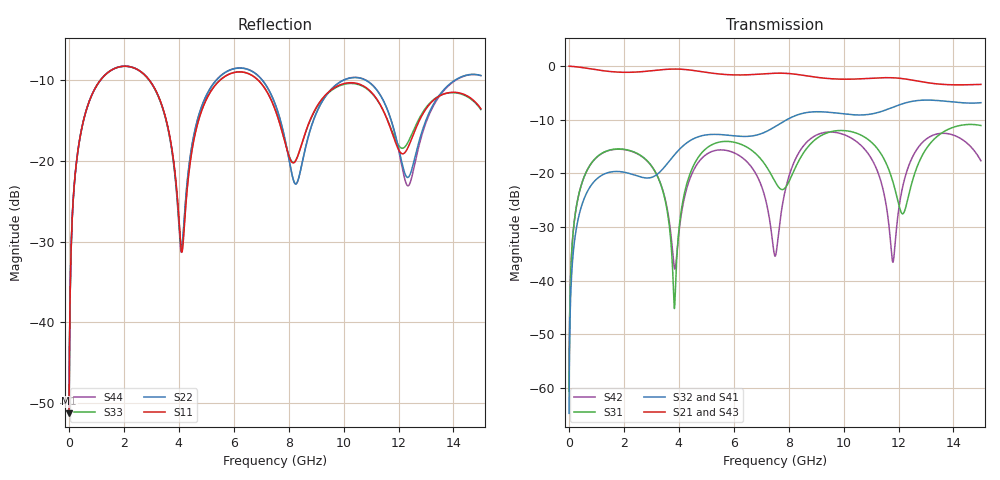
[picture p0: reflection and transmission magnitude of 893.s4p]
! Created with skrf 1.8.0 (http://scikit-rf.org).
# GHz S RI R 50.0
!freq ReS11 ImS11 ReS12 ImS12 ReS13 ImS13
! ReS14 ImS14
! ReS21 ImS21 ReS22 ImS22 ReS23 ImS23
! ReS24 ImS24
! ReS31 ImS31 ReS32 ImS32 ReS33 ImS33
! ReS34 ImS34
! ReS41 ImS41 ReS42 ImS42 ReS43 ImS43
! ReS44 ImS44
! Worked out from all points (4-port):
!   2499 points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, 5 MHz to 15 GHz, reference 50 ohm
!   strongest paths, dB at 5 MHz, 3.476 GHz, 7.19 GHz, 11.1 GHz, 15 GHz:
!     S21: 0.0, -0.6, -1.4, -2.2, -3.4
!     S43: 0.0, -0.6, -1.4, -2.2, -3.4
!     S32: -64.7, -18.8, -12.2, -8.8, -6.8
!     S41: -64.7, -18.8, -12.2, -8.9, -6.8
!     S31: -60.6, -24.4, -18.7, -14.6, -11.1
!     S42: -60.6, -24.2, -25.5, -18.0, -17.6
!   lowest |S11| = -51.3 dB at 5 MHz (marker M1), VSWR 1.01, Z = 50.2 + j0.165 ohm
!   |S11| at or under -10 dB: start of sweep to 1.138 GHz; 2.934 GHz to 5.493 GHz (2.559 GHz wide, 60.7 % of centre); 6.897 GHz to end of sweep
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0.005  0.00218 0.00164  0.9978 -0.00423  0.000114 0.000928  -0.00011 -0.000572
       0.9978 -0.00423  0.00218 0.00164  -0.00011 -0.000572  0.000114 0.000928
       0.000114 0.000928  -0.00011 -0.000572  0.00218 0.00164  0.9978 -0.00423
       -0.00011 -0.000572  0.000114 0.000928  0.9978 -0.00423  0.00218 0.00164
1.269279  0.294 0.1624  0.4903 -0.7585  0.147 0.0567  -0.0982 0.00441
          0.4903 -0.7585  0.2946 0.1619  -0.0983 0.0045  0.1454 0.0592
          0.147 0.0567  -0.0983 0.0045  0.2938 0.1624  0.4904 -0.7585
          -0.0982 0.00441  0.1454 0.0592  0.4904 -0.7585  0.2945 0.1618
3.839545  0.0431 -0.0806  -0.8978 -0.2729  0.00551 -0.000186  -0.0393 0.1436
          -0.8978 -0.2729  0.0431 -0.0777  -0.0381 0.1439  -0.0125 -0.00418
          0.00551 -0.000186  -0.0381 0.1439  0.0437 -0.0789  -0.898 -0.2727
          -0.0393 0.1436  -0.0125 -0.00418  -0.898 -0.2727  0.0416 -0.0767
4.902043  0.154 0.1578  -0.7534 0.4569  0.1452 0.0726  0.1485 0.1708
          -0.7534 0.4569  0.1671 0.1628  0.1499 0.1696  0.1053 0.0974
          0.1452 0.0726  0.1499 0.1696  0.1558 0.1581  -0.7532 0.4566
          0.1485 0.1708  0.1053 0.0974  -0.7532 0.4566  0.1667 0.1651
8.18466  0.0975 -0.0028  0.8259 0.1704  -0.0354 0.0989  0.0661 -0.334
         0.8259 0.1704  0.0705 -0.0264  0.0613 -0.3348  0.00138 0.1253
         -0.0354 0.0989  0.0613 -0.3348  0.0981 -0.00385  0.8254 0.1731
         0.0661 -0.334  0.00138 0.1253  0.8254 0.1731  0.0704 -0.0262
10.94206  0.2599 -0.0883  -0.1385 -0.7559  0.1068 -0.1721  -0.3346 0.1148
          -0.1385 -0.7559  0.2848 -0.1132  -0.3332 0.1237  0.1129 -0.0938
          0.1068 -0.1721  -0.3332 0.1237  0.2596 -0.081  -0.1336 -0.7572
          -0.3346 0.1148  0.1129 -0.0938  -0.1336 -0.7572  0.2848 -0.1158
15  0.201 -0.0649  0.0167 0.6748  0.0999 -0.2609  0.4508 -0.0627
    0.0167 0.6748  0.3277 -0.0871  0.4493 -0.0767  0.1224 -0.047
    0.0999 -0.2609  0.4493 -0.0767  0.1999 -0.0595  0.00393 0.6761
    0.4508 -0.0627  0.1224 -0.047  0.00393 0.6761  0.3292 -0.0791
